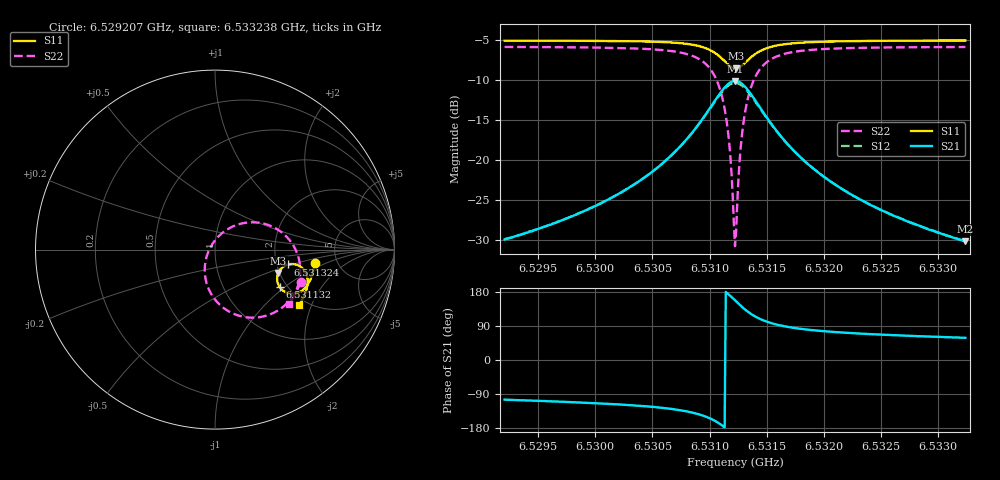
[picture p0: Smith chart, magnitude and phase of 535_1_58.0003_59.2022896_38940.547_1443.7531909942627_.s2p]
#  HZ  S  RI  R  50.00
! Rohde & Schwarz Vector Network Analyzer
! Rohde-Schwarz,ZNB20-2Port,1311601062101988,3.16
! Created: UTC 3/21/2024, 1:14:15 AM
! freq[Hz]  re:S11  im:S11  re:S21  im:S21  re:S12  im:S12  re:S22  im:S22
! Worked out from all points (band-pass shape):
!   401 points, 6.529207 GHz to 6.533238 GHz, reference 50 ohm
!   highest |S21| = -10.07 dB at 6.531223 GHz (marker M1); lowest = -30.2 dB at 6.533238 GHz (marker M2)
!   |S21| within 3 dB of the highest: 6.531023 GHz to 6.531426 GHz (402.7 kHz wide, 0.00617 % of centre)
!   lowest |S11| = -8.5 dB at 6.531233 GHz (marker M3), VSWR 2.21, Z = 98.6 - j29.8 ohm
!   |S11| at or under -10 dB: nowhere
!   |S22| runs from -30.8 to -5.8 dB; largest |S21 - S12| = 0.013
!   S11 on the Smith chart (normalised r, x): 6.529207 GHz: 3.38, -0.73; 6.531132 GHz: 1.83, -0.93; 6.531324 GHz: 2.31, -0.46; 6.533238 GHz: 1.82, -1.64
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6.5292073e9  0.556 -0.0738  -0.00795 -0.0307  -0.00871 -0.0306  0.4799 -0.1791
6.5298825e9  0.5443 -0.1301  -0.0179 -0.0435  -0.0189 -0.0432  0.4479 -0.2417
6.5302453e9  0.5328 -0.1638  -0.0299 -0.0562  -0.0314 -0.0557  0.4162 -0.2838
6.5305577e9  0.5146 -0.1975  -0.0527 -0.0744  -0.0549 -0.0729  0.3643 -0.3299
6.5307895e9  0.4867 -0.2269  -0.0936 -0.0936  -0.0963 -0.0904  0.2823 -0.3689
6.5309608e9  0.4417 -0.2451  -0.163 -0.0991  -0.1652 -0.0925  0.1544 -0.3737
6.5310615e9  0.3961 -0.2386  -0.2334 -0.0712  -0.2323 -0.0615  0.0359 -0.3154
6.5311321e9  0.361 -0.2099  -0.2849 -0.0108  -0.2788 -0.000954  -0.0409 -0.2056
6.5311724e9  0.3481 -0.1808  -0.3006 0.0434  -0.2911 0.0514  -0.0573 -0.1134
6.5312127e9  0.3477 -0.1465  -0.2949 0.1051  -0.2837 0.1093  -0.0379 -0.0131
6.5312228e9  0.3499 -0.1379  -0.2897 0.1202  -0.2783 0.1234  -0.0268 0.0107
6.5312329e9  0.353 -0.1296  -0.2829 0.1348  -0.2715 0.137  -0.0133 0.0333
6.5312429e9  0.3571 -0.1218  -0.2746 0.1486  -0.2635 0.1498  0.0021 0.0543
6.5312732e9  0.3732 -0.1015  -0.2438 0.1832  -0.2336 0.1819  0.0585 0.1061
6.5312933e9  0.3864 -0.0918  -0.2193 0.1999  -0.2106 0.1975  0.101 0.1297
6.5313236e9  0.4075 -0.0829  -0.1813 0.2154  -0.1746 0.2118  0.1661 0.149
6.5313941e9  0.4519 -0.0835  -0.1041 0.2162  -0.1008 0.2129  0.2956 0.1376
6.5314949e9  0.49 -0.1069  -0.038 0.1835  -0.0367 0.1816  0.4024 0.0679
6.531646e9  0.5116 -0.1438  0.00114 0.135  0.0022 0.1344  0.4607 -0.0295
6.531898e9  0.5162 -0.1878  0.0175 0.0879  0.0183 0.0876  0.4746 -0.1283
6.5325732e9  0.4969 -0.2581  0.0186 0.042  0.0194 0.0418  0.4457 -0.2449
6.5332383e9  0.4706 -0.3081  0.0162 0.0264  0.0167 0.0261  0.4113 -0.3046
